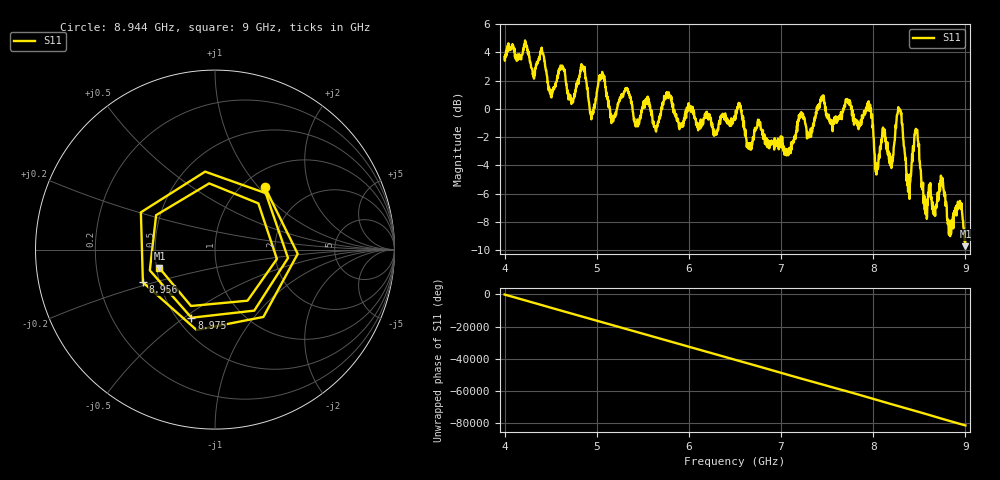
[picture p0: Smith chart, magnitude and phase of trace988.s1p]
! Created with skrf 1.8.0 (http://scikit-rf.org).
# Hz S RI R 50.0
!freq ReS11 ImS11
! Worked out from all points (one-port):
!   1601 points, 4 GHz to 9 GHz, reference 50 ohm
!   lowest |S11| = -9.7 dB at 9 GHz (marker M1), VSWR 1.97, Z = 25.9 - j5.95 ohm
!   |S11| at or under -10 dB: nowhere
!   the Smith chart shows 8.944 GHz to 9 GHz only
!   S11 on the Smith chart (normalised r, x): 8.944 GHz: 1.24, +1.08; 8.956 GHz: 0.40, -0.18; 8.975 GHz: 0.59, -0.53; 9 GHz: 0.52, -0.12
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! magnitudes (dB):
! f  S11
! 4 GHz  3.7
! 4.406 GHz  4.2
! 4.503 GHz  0.8
! 4.625 GHz  3.1
! 4.731 GHz  0.7
! 4.85 GHz  3.0
! 4.944 GHz  -0.4
! 5.05 GHz  2.3
! 5.172 GHz  -0.6
! 5.25 GHz  0.8
! 5.875 GHz  -0.7
! 6.5 GHz  -0.5
! 6.653 GHz  -2.5
! 7.125 GHz  -2.4
! 7.441 GHz  0.8
! 7.75 GHz  0.5
! 7.966 GHz  0.3
! 8.044 GHz  -4.3
! 8.112 GHz  -1.5
! 8.197 GHz  -4.2
! 8.281 GHz  -0.1
! 8.375 GHz  -5.0
! 8.469 GHz  -1.7
! 8.569 GHz  -7.5
! 8.944 GHz  -7.0
! 8.956 GHz  -7.1
! 8.975 GHz  -7.9
! 9 GHz  -9.7
